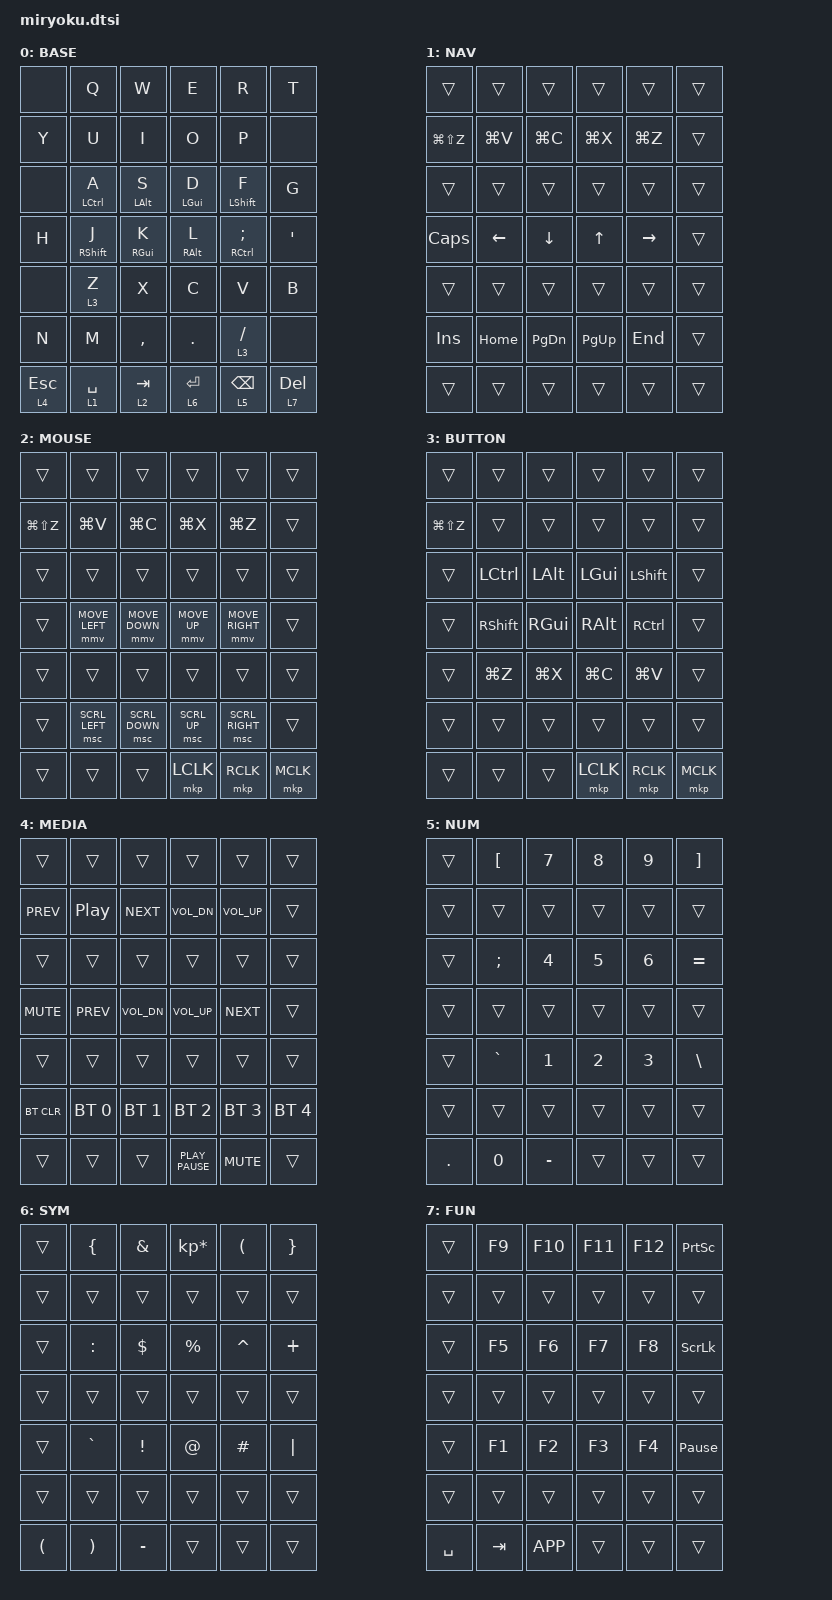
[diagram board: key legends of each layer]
/*
 * Miryoku keymap for the PandaKB Corne.
 *
 * The board has six columns per half, while Miryoku uses five. The outer
 * column on each half is intentionally unused (&none). Layer numbers are
 * positional, so keep the layer order below in sync with the &lt bindings.
 */

#include <behaviors.dtsi>
#include <dt-bindings/zmk/keys.h>
#include <dt-bindings/zmk/bt.h>
#include <dt-bindings/zmk/rgb.h>
#include <dt-bindings/zmk/pointing.h>

/ {
    behaviors {
        hml: home_row_mod_left {
            compatible = "zmk,behavior-hold-tap";
            #binding-cells = <2>;
            flavor = "balanced";
            tapping-term-ms = <280>;
            quick-tap-ms = <175>;
            require-prior-idle-ms = <125>;
            bindings = <&kp>, <&kp>;
            hold-trigger-key-positions = <
                6 7 8 9 10 11
                18 19 20 21 22 23
                30 31 32 33 34 35
                39 40 41
            >;
            hold-trigger-on-release;
        };

        hmr: home_row_mod_right {
            compatible = "zmk,behavior-hold-tap";
            #binding-cells = <2>;
            flavor = "balanced";
            tapping-term-ms = <280>;
            quick-tap-ms = <175>;
            require-prior-idle-ms = <125>;
            bindings = <&kp>, <&kp>;
            hold-trigger-key-positions = <
                0 1 2 3 4 5
                12 13 14 15 16 17
                24 25 26 27 28 29
                36 37 38
            >;
            hold-trigger-on-release;
        };
    };

    keymap {
        compatible = "zmk,keymap";

        /* 0: QWERTY base with Miryoku home-row modifiers. */
        base_layer {
            display-name = "BASE";
            bindings = <
                &none &kp Q &kp W &kp E &kp R &kp T
                         &kp Y &kp U &kp I &kp O &kp P &none

                &none &hml LCTRL A &hml LALT S &hml LGUI D &hml LSHFT F &kp G
                         &kp H &hmr RSHFT J &hmr RGUI K &hmr RALT L &hmr RCTRL SEMI &kp APOS

                &none &lt 3 Z &kp X &kp C &kp V &kp B
                         &kp N &kp M &kp COMMA &kp DOT &lt 3 FSLH &none

                &lt 4 ESC &lt 1 SPACE &lt 2 TAB
                         &lt 6 RET &lt 5 BSPC &lt 7 DEL
            >;
        };

        /* 1: navigation and editing on the right hand. */
        nav_layer {
            display-name = "NAV";
            bindings = <
                &trans &trans &trans &trans &trans &trans
                         &kp LG(LS(Z)) &kp LG(V) &kp LG(C) &kp LG(X) &kp LG(Z) &trans

                &trans &trans &trans &trans &trans &trans
                         &kp CAPSLOCK &kp LEFT &kp DOWN &kp UP &kp RIGHT &trans

                &trans &trans &trans &trans &trans &trans
                         &kp INSERT &kp HOME &kp PG_DN &kp PG_UP &kp END &trans

                &trans &trans &trans &trans &trans &trans
            >;
        };

        /* 2: mouse movement and buttons. */
        mouse_layer {
            display-name = "MOUSE";
            bindings = <
                &trans &trans &trans &trans &trans &trans
                         &kp LG(LS(Z)) &kp LG(V) &kp LG(C) &kp LG(X) &kp LG(Z) &trans

                &trans &trans &trans &trans &trans &trans
                         &trans &mmv MOVE_LEFT &mmv MOVE_DOWN &mmv MOVE_UP &mmv MOVE_RIGHT &trans

                &trans &trans &trans &trans &trans &trans
                         &trans &msc SCRL_LEFT &msc SCRL_DOWN &msc SCRL_UP &msc SCRL_RIGHT &trans

                &trans &trans &trans &mkp LCLK &mkp RCLK &mkp MCLK
            >;
        };

        /* 3: mouse buttons, clipboard, and modifiers. */
        button_layer {
            display-name = "BUTTON";
            bindings = <
                &trans &trans &trans &trans &trans &trans
                         &kp LG(LS(Z)) &trans &trans &trans &trans &trans

                &trans &kp LCTRL &kp LALT &kp LGUI &kp LSHFT &trans
                         &trans &kp RSHFT &kp RGUI &kp RALT &kp RCTRL &trans

                &trans &kp LG(Z) &kp LG(X) &kp LG(C) &kp LG(V) &trans
                         &trans &trans &trans &trans &trans &trans

                &trans &trans &trans &mkp LCLK &mkp RCLK &mkp MCLK
            >;
        };

        /* 4: media, Bluetooth, and underglow controls on the right. */
        media_layer {
            display-name = "MEDIA";
            bindings = <
                &trans &trans &trans &trans &trans &trans
                         &kp C_PREV &kp C_PP &kp C_NEXT &kp C_VOL_DN &kp C_VOL_UP &trans

                &trans &trans &trans &trans &trans &trans
                         &kp C_MUTE &kp C_PREV &kp C_VOL_DN &kp C_VOL_UP &kp C_NEXT &trans

                &trans &trans &trans &trans &trans &trans
                         &bt BT_CLR &bt BT_SEL 0 &bt BT_SEL 1 &bt BT_SEL 2 &bt BT_SEL 3 &bt BT_SEL 4

                &trans &trans &trans &kp K_PLAY_PAUSE &kp C_MUTE &trans
            >;
        };

        /* 5: numbers and keypad-style symbols on the left. */
        num_layer {
            display-name = "NUM";
            bindings = <
                &trans &kp LBKT &kp N7 &kp N8 &kp N9 &kp RBKT
                         &trans &trans &trans &trans &trans &trans

                &trans &kp SEMI &kp N4 &kp N5 &kp N6 &kp EQUAL
                         &trans &trans &trans &trans &trans &trans

                &trans &kp GRAVE &kp N1 &kp N2 &kp N3 &kp BSLH
                         &trans &trans &trans &trans &trans &trans

                &kp DOT &kp N0 &kp MINUS &trans &trans &trans
            >;
        };

        /* 6: shifted symbols on the left. */
        sym_layer {
            display-name = "SYM";
            bindings = <
                &trans &kp LBRC &kp AMPS &kp KP_MULTIPLY &kp LPAR &kp RBRC
                         &trans &trans &trans &trans &trans &trans

                &trans &kp COLON &kp DLLR &kp PRCNT &kp CARET &kp PLUS
                         &trans &trans &trans &trans &trans &trans

                &trans &kp GRAVE &kp EXCL &kp AT &kp HASH &kp PIPE
                         &trans &trans &trans &trans &trans &trans

                &kp LPAR &kp RPAR &kp MINUS &trans &trans &trans
            >;
        };

        /* 7: function and system keys on the left. */
        fun_layer {
            display-name = "FUN";
            bindings = <
                &trans &kp F9 &kp F10 &kp F11 &kp F12 &kp PSCRN
                         &trans &trans &trans &trans &trans &trans

                &trans &kp F5 &kp F6 &kp F7 &kp F8 &kp SLCK
                         &trans &trans &trans &trans &trans &trans

                &trans &kp F1 &kp F2 &kp F3 &kp F4 &kp PAUSE_BREAK
                         &trans &trans &trans &trans &trans &trans

                &kp SPACE &kp TAB &kp K_APP &trans &trans &trans
            >;
        };
    };
};
